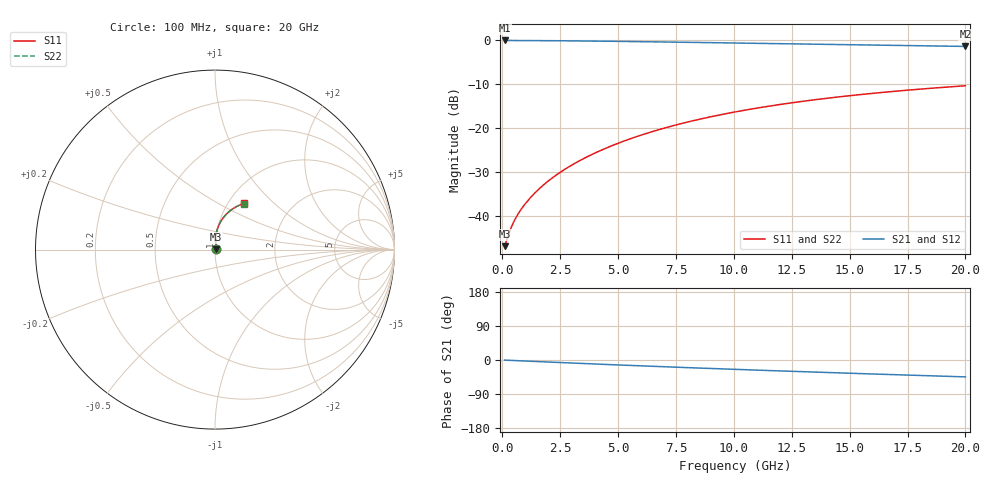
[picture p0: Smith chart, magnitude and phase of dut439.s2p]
! Touchstone file exported from HFSS 2024.1.0
!  File:  C:/UserFiles/LocalFiles/RDL_TSV_Batchsim/temp_RDL_bottom_439_1779684604.aedt
!  Generated:  12:52:42 PM May 25, 2026
!  Design:  RDL_bottom
!  Project:  temp_RDL_bottom_439_1779684604
!  Setup:  Setup1
!  Solution:  Sweep
! Variables:
!  dtsv = 10.80580581um
!  hbump = 3um
!  htsv = 80.6um
!  ldown = 698.76um
!  lrdl = 100um
!  p = 40
!  p1 = 42.75um
!  rhole = 1um
!  t = 450um
!  tdown = 2.4um
!  trdl = 3.915915916um
!  wdown = 26.29um
!  wrdl = 20um
# GHz S MA R 50.000000
! Terminal data exported
! Port[1] = RDL1_T1
! Port[2] = RDL1_T2
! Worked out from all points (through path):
!   200 points, 100 MHz to 20 GHz, reference 50 ohm
!   highest |S21| = -0.04 dB at 100 MHz (marker M1); lowest = -1.4 dB at 20 GHz (marker M2)
!   group delay of S21, straight-line fit = 6.13 ps
!   lowest |S11| = -46.9 dB at 100 MHz (marker M3), VSWR 1.01, Z = 50.4 + j0.158 ohm
!   |S11| at or under -10 dB: start of sweep to end of sweep
!   |S22| runs from -46.9 to -10.4 dB; largest |S21 - S12| = 3.5e-15
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0.1  0.004533 20.2  0.9957 -0.3  0.9957 -0.3  0.004533 20.2
! Gamma 0 0 0 0
! Port Impedance 50 0 50 0
0.3  0.006458 43.5  0.9952 -0.9  0.9952 -0.9  0.006458 43.5
0.4  0.007553 49.3  0.9949 -1.1  0.9949 -1.1  0.007553 49.3
0.5  0.008628 53.5  0.9945 -1.4  0.9945 -1.4  0.008628 53.5
0.6  0.009681 56.9  0.9942 -1.7  0.9942 -1.7  0.009681 56.9
0.7  0.01072 59.7  0.994 -1.9  0.994 -1.9  0.01072 59.7
0.9  0.0128 64.3  0.9934 -2.5  0.9934 -2.5  0.0128 64.3
1.2  0.016 69.6  0.9926 -3.3  0.9926 -3.3  0.016 69.6
1.7  0.02164 75.6  0.991 -4.6  0.991 -4.6  0.02164 75.6
2.2  0.02764 79.5  0.9891 -5.9  0.9891 -5.9  0.02765 79.5
2.8  0.03531 82.5  0.9863 -7.5  0.9863 -7.5  0.03531 82.5
3.5  0.04485 84.7  0.9825 -9.3  0.9825 -9.3  0.04484 84.6
4.2  0.05499 85.8  0.978 -11.1  0.978 -11.1  0.05498 85.7
5  0.06724 86.2  0.9724 -13.1  0.9724 -13.1  0.06721 86.1
5.9  0.08172 85.9  0.9655 -15.3  0.9655 -15.3  0.08167 85.8
6.8  0.09675 85.0  0.9583 -17.4  0.9583 -17.4  0.09668 85.0
8.4  0.1242 82.6  0.945 -21.1  0.945 -21.1  0.1241 82.5
10.1  0.1537 79.2  0.9307 -24.8  0.9307 -24.8  0.1535 79.2
11.7  0.1809 75.8  0.9173 -28.2  0.9173 -28.2  0.1807 75.7
13.4  0.2089 72.0  0.9033 -31.7  0.9033 -31.7  0.2087 72.0
16.7  0.2592 64.8  0.8768 -38.3  0.8768 -38.3  0.2589 64.7
20  0.3035 57.9  0.8516 -44.6  0.8516 -44.6  0.3031 57.8
